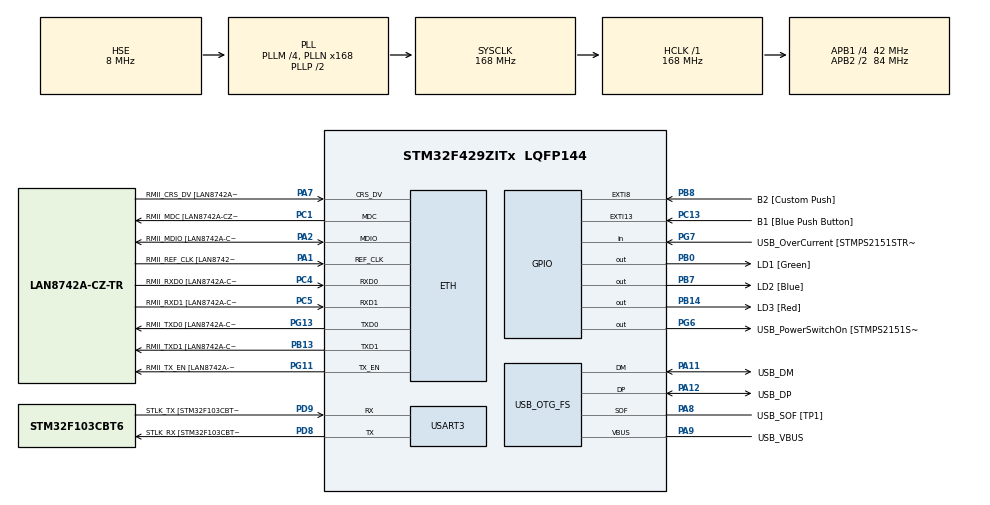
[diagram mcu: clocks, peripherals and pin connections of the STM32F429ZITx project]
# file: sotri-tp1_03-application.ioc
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ETH.MediaInterface=HAL_ETH_RMII_MODE
ETH.PHY_Name=LAN8742A_PHY_ADDRESS
ETH.PHY_Value=0
ETH.PhyAddress=0
FREERTOS.Tasks01=defaultTask,0,128,StartDefaultTask,Default,NULL,Dynamic,NULL,NULL
Mcu.Family=STM32F4
Mcu.Name=STM32F429ZITx
Mcu.Package=LQFP144
NVIC.PriorityGroup=NVIC_PRIORITYGROUP_4
NVIC.TIM1_UP_TIM10_IRQn=true\:15\:0\:false\:false\:true\:false\:false\:true\:true
NVIC.TimeBase=TIM1_UP_TIM10_IRQn
NVIC.TimeBaseIP=TIM1
PA1.GPIO_Label=RMII_REF_CLK [LAN8742A-CZ-TR_REFCLK0]
PA1.Mode=RMII
PA1.Signal=ETH_REF_CLK
PA10.GPIO_Label=USB_ID
PA10.Signal=USB_OTG_FS_ID
PA11.GPIO_Label=USB_DM
PA11.Mode=Device_Only
PA11.Signal=USB_OTG_FS_DM
PA12.GPIO_Label=USB_DP
PA12.Mode=Device_Only
PA12.Signal=USB_OTG_FS_DP
PA13.GPIO_Label=TMS
PA13.Mode=Serial_Wire
PA13.Signal=SYS_JTMS-SWDIO
PA14.GPIO_Label=TCK
PA14.Mode=Serial_Wire
PA14.Signal=SYS_JTCK-SWCLK
PA2.GPIO_Label=RMII_MDIO [LAN8742A-CZ-TR_MDIO]
PA2.Mode=RMII
PA2.Signal=ETH_MDIO
PA7.GPIO_Label=RMII_CRS_DV [LAN8742A-CZ-TR_CRS_DV]
PA7.Mode=RMII
PA7.Signal=ETH_CRS_DV
PA8.GPIO_Label=USB_SOF [TP1]
PA8.Mode=Activate_SOF_FS
PA8.Signal=USB_OTG_FS_SOF
PA9.GPIO_Label=USB_VBUS
PA9.Mode=Activate_VBUS
PA9.Signal=USB_OTG_FS_VBUS
PB0.GPIO_Label=LD1 [Green]
PB0.Signal=GPIO_Output
PB13.GPIO_Label=RMII_TXD1 [LAN8742A-CZ-TR_TXD1]
PB13.Mode=RMII
PB13.Signal=ETH_TXD1
PB14.GPIO_Label=LD3 [Red]
PB14.Signal=GPIO_Output
PB7.GPIO_Label=LD2 [Blue]
PB7.Signal=GPIO_Output
PB8.GPIO_Label=B2 [Custom Push]
PB8.GPIO_ModeDefaultEXTI=GPIO_MODE_IT_FALLING
PB8.Signal=GPXTI8
PC1.GPIO_Label=RMII_MDC [LAN8742A-CZ-TR_MDC]
PC1.Mode=RMII
PC1.Signal=ETH_MDC
PC13.GPIO_Label=B1 [Blue Push Button]
PC13.GPIO_ModeDefaultEXTI=GPIO_MODE_IT_FALLING
PC13.Signal=GPXTI13
PC14/OSC32_IN.Mode=LSE-External-Oscillator
PC14/OSC32_IN.Signal=RCC_OSC32_IN
PC15/OSC32_OUT.Mode=LSE-External-Oscillator
PC15/OSC32_OUT.Signal=RCC_OSC32_OUT
PC4.GPIO_Label=RMII_RXD0 [LAN8742A-CZ-TR_RXD0]
PC4.Mode=RMII
PC4.Signal=ETH_RXD0
PC5.GPIO_Label=RMII_RXD1 [LAN8742A-CZ-TR_RXD1]
PC5.Mode=RMII
PC5.Signal=ETH_RXD1
PD8.GPIO_Label=STLK_RX [STM32F103CBT6_PA3]
PD8.Mode=Asynchronous
PD8.Signal=USART3_TX
PD9.GPIO_Label=STLK_TX [STM32F103CBT6_PA2]
PD9.Mode=Asynchronous
PD9.Signal=USART3_RX
PG11.GPIO_Label=RMII_TX_EN [LAN8742A-CZ-TR_TXEN]
PG11.Mode=RMII
PG11.Signal=ETH_TX_EN
PG13.GPIO_Label=RMII_TXD0 [LAN8742A-CZ-TR_TXD0]
PG13.Mode=RMII
PG13.Signal=ETH_TXD0
PG6.GPIO_Label=USB_PowerSwitchOn [STMPS2151STR_EN]
PG6.Signal=GPIO_Output
PG7.GPIO_Label=USB_OverCurrent [STMPS2151STR_FAULT]
PG7.Signal=GPIO_Input
PH0/OSC_IN.GPIO_Label=MCO [STM32F103CBT6_PA8]
PH0/OSC_IN.Mode=HSE-External-Clock-Source
PH0/OSC_IN.Signal=RCC_OSC_IN
PH1/OSC_OUT.Mode=HSE-External-Clock-Source
PH1/OSC_OUT.Signal=RCC_OSC_OUT
ProjectManager.HeapSize=0x200
ProjectManager.StackSize=0x400
ProjectManager.TargetToolchain=STM32CubeIDE
RCC.48MHZClocksFreq_Value=48000000
RCC.AHBFreq_Value=168000000
RCC.APB1CLKDivider=RCC_HCLK_DIV4
RCC.APB1Freq_Value=42000000
RCC.APB1TimFreq_Value=84000000
RCC.APB2CLKDivider=RCC_HCLK_DIV2
RCC.APB2Freq_Value=84000000
RCC.APB2TimCLKDivider=2
RCC.APB2TimFreq_Value=168000000
RCC.CortexFreq_Value=168000000
RCC.HCLKFreq_Value=168000000
RCC.HSE_VALUE=8000000
RCC.HSI_VALUE=16000000
RCC.PLLM=4
RCC.PLLMUL=RCC_PLL_MUL9
RCC.PLLN=168
RCC.PLLQ=7
RCC.PRESCALERUSB=RCC_USBCLKSOURCE_PLL_DIV1_5
RCC.SYSCLKFreq_VALUE=168000000
RCC.SYSCLKSource=RCC_SYSCLKSOURCE_PLLCLK
RCC.SYSCLKSourceVirtual=RCC_SYSCLKSOURCE_PLLCLK
RCC.USBFreq_Value=48000000
RCC.VCOOutputFreq_Value=336000000
TIM2.Prescaler=2-1
USART3.VirtualMode=VM_ASYNC
USB_OTG_FS.VirtualMode=Device_Only
VP_FREERTOS_VS_CMSIS_V1.Mode=CMSIS_V1
VP_SYS_VS_tim1.Mode=TIM1
VP_TIM2_VS_ClockSourceINT.Mode=Internal
board=NUCLEO-F429ZI

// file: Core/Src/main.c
/* USER CODE BEGIN Header */
/**
  ******************************************************************************
  * @file           : main.c
  * @brief          : Main program body
  ******************************************************************************
  * @attention
  *
  * Copyright (c) 2026 STMicroelectronics.
  * All rights reserved.
  *
  * This software is licensed under terms that can be found in the LICENSE file
  * in the root directory of this software component.
  * If no LICENSE file comes with this software, it is provided AS-IS.
  *
  ******************************************************************************
  */
/* USER CODE END Header */
#include "main.h"
#include "string.h"
#include "cmsis_os.h"

/* USER CODE BEGIN Includes */
/* Demo includes */
#include "logger.h"
#include "dwt.h"

/* Application includes */
#include "app.h"

/* USER CODE END Includes */

ETH_TxPacketConfig TxConfig;
ETH_DMADescTypeDef  DMARxDscrTab[ETH_RX_DESC_CNT]; /* Ethernet Rx DMA Descriptors */
ETH_DMADescTypeDef  DMATxDscrTab[ETH_TX_DESC_CNT]; /* Ethernet Tx DMA Descriptors */

ETH_HandleTypeDef heth;

TIM_HandleTypeDef htim2;

UART_HandleTypeDef huart3;

PCD_HandleTypeDef hpcd_USB_OTG_FS;

osThreadId defaultTaskHandle;

void SystemClock_Config(void);
static void MX_GPIO_Init(void);
static void MX_ETH_Init(void);
static void MX_USART3_UART_Init(void);
static void MX_USB_OTG_FS_PCD_Init(void);
static void MX_TIM2_Init(void);
void StartDefaultTask(void const * argument);

/* USER CODE BEGIN 0 */

#if (1 == LOGGER_CONFIG_USE_SEMIHOSTING)
extern void initialise_monitor_handles(void);
#endif

/* USER CODE END 0 */

int main(void)
{

  /* USER CODE BEGIN 1 */

  #if (1 == LOGGER_CONFIG_USE_SEMIHOSTING)
  initialise_monitor_handles();
  #endif

  /* USER CODE END 1 */

  /* MCU Configuration--------------------------------------------------------*/

  /* Reset of all peripherals, Initializes the Flash interface and the Systick. */
  HAL_Init();

  /* Configure the system clock */
  SystemClock_Config();

  /* Initialize all configured peripherals */
  MX_GPIO_Init();
  MX_ETH_Init();
  MX_USART3_UART_Init();
  MX_USB_OTG_FS_PCD_Init();
  MX_TIM2_Init();
  /* USER CODE BEGIN 2 */
  /* add application, ... */
  app_init();
  /* USER CODE END 2 */

  /* USER CODE BEGIN RTOS_QUEUES */
  /* add queues, ... */
  #ifdef _defaultTask_
  /* USER CODE END RTOS_QUEUES */

  /* Create the thread(s) */
  /* definition and creation of defaultTask */
  osThreadDef(defaultTask, StartDefaultTask, osPriorityNormal, 0, 128);
  defaultTaskHandle = osThreadCreate(osThread(defaultTask), NULL);

  /* USER CODE BEGIN RTOS_THREADS */
  #endif
  /* add threads, ... */
  /* USER CODE END RTOS_THREADS */

  /* Start scheduler */
  osKernelStart();

  /* We should never get here as control is now taken by the scheduler */

  /* Infinite loop */
  while (1)
  {

  }
}

void SystemClock_Config(void)
{
  RCC_OscInitTypeDef RCC_OscInitStruct = {0};
  RCC_ClkInitTypeDef RCC_ClkInitStruct = {0};

  /** Configure the main internal regulator output voltage
  */
  __HAL_RCC_PWR_CLK_ENABLE();
  __HAL_PWR_VOLTAGESCALING_CONFIG(PWR_REGULATOR_VOLTAGE_SCALE1);

  /** Initializes the RCC Oscillators according to the specified parameters
  * in the RCC_OscInitTypeDef structure.
  */
  RCC_OscInitStruct.OscillatorType = RCC_OSCILLATORTYPE_HSE;
  RCC_OscInitStruct.HSEState = RCC_HSE_BYPASS;
  RCC_OscInitStruct.PLL.PLLState = RCC_PLL_ON;
  RCC_OscInitStruct.PLL.PLLSource = RCC_PLLSOURCE_HSE;
  RCC_OscInitStruct.PLL.PLLM = 4;
  RCC_OscInitStruct.PLL.PLLN = 168;
  RCC_OscInitStruct.PLL.PLLP = RCC_PLLP_DIV2;
  RCC_OscInitStruct.PLL.PLLQ = 7;
  if (HAL_RCC_OscConfig(&RCC_OscInitStruct) != HAL_OK)
  {
    Error_Handler();
  }

  /** Initializes the CPU, AHB and APB buses clocks
  */
  RCC_ClkInitStruct.ClockType = RCC_CLOCKTYPE_HCLK|RCC_CLOCKTYPE_SYSCLK
                              |RCC_CLOCKTYPE_PCLK1|RCC_CLOCKTYPE_PCLK2;
  RCC_ClkInitStruct.SYSCLKSource = RCC_SYSCLKSOURCE_PLLCLK;
  RCC_ClkInitStruct.AHBCLKDivider = RCC_SYSCLK_DIV1;
  RCC_ClkInitStruct.APB1CLKDivider = RCC_HCLK_DIV4;
  RCC_ClkInitStruct.APB2CLKDivider = RCC_HCLK_DIV2;

  if (HAL_RCC_ClockConfig(&RCC_ClkInitStruct, FLASH_LATENCY_5) != HAL_OK)
  {
    Error_Handler();
  }
}

static void MX_ETH_Init(void)
{

   static uint8_t MACAddr[6];

  heth.Instance = ETH;
  MACAddr[0] = 0x00;
  MACAddr[1] = 0x80;
  MACAddr[2] = 0xE1;
  MACAddr[3] = 0x00;
  MACAddr[4] = 0x00;
  MACAddr[5] = 0x00;
  heth.Init.MACAddr = &MACAddr[0];
  heth.Init.MediaInterface = HAL_ETH_RMII_MODE;
  heth.Init.TxDesc = DMATxDscrTab;
  heth.Init.RxDesc = DMARxDscrTab;
  heth.Init.RxBuffLen = 1524;

  if (HAL_ETH_Init(&heth) != HAL_OK)
  {
    Error_Handler();
  }

  memset(&TxConfig, 0 , sizeof(ETH_TxPacketConfig));
  TxConfig.Attributes = ETH_TX_PACKETS_FEATURES_CSUM | ETH_TX_PACKETS_FEATURES_CRCPAD;
  TxConfig.ChecksumCtrl = ETH_CHECKSUM_IPHDR_PAYLOAD_INSERT_PHDR_CALC;
  TxConfig.CRCPadCtrl = ETH_CRC_PAD_INSERT;

}

static void MX_TIM2_Init(void)
{

  TIM_ClockConfigTypeDef sClockSourceConfig = {0};
  TIM_MasterConfigTypeDef sMasterConfig = {0};

  htim2.Instance = TIM2;
  htim2.Init.Prescaler = 2-1;
  htim2.Init.CounterMode = TIM_COUNTERMODE_UP;
  htim2.Init.Period = 4294967295;
  htim2.Init.ClockDivision = TIM_CLOCKDIVISION_DIV1;
  htim2.Init.AutoReloadPreload = TIM_AUTORELOAD_PRELOAD_DISABLE;
  if (HAL_TIM_Base_Init(&htim2) != HAL_OK)
  {
    Error_Handler();
  }
  sClockSourceConfig.ClockSource = TIM_CLOCKSOURCE_INTERNAL;
  if (HAL_TIM_ConfigClockSource(&htim2, &sClockSourceConfig) != HAL_OK)
  {
    Error_Handler();
  }
  sMasterConfig.MasterOutputTrigger = TIM_TRGO_RESET;
  sMasterConfig.MasterSlaveMode = TIM_MASTERSLAVEMODE_DISABLE;
  if (HAL_TIMEx_MasterConfigSynchronization(&htim2, &sMasterConfig) != HAL_OK)
  {
    Error_Handler();
  }

}

static void MX_USART3_UART_Init(void)
{

  huart3.Instance = USART3;
  huart3.Init.BaudRate = 115200;
  huart3.Init.WordLength = UART_WORDLENGTH_8B;
  huart3.Init.StopBits = UART_STOPBITS_1;
  huart3.Init.Parity = UART_PARITY_NONE;
  huart3.Init.Mode = UART_MODE_TX_RX;
  huart3.Init.HwFlowCtl = UART_HWCONTROL_NONE;
  huart3.Init.OverSampling = UART_OVERSAMPLING_16;
  if (HAL_UART_Init(&huart3) != HAL_OK)
  {
    Error_Handler();
  }

}

static void MX_USB_OTG_FS_PCD_Init(void)
{

  hpcd_USB_OTG_FS.Instance = USB_OTG_FS;
  hpcd_USB_OTG_FS.Init.dev_endpoints = 4;
  hpcd_USB_OTG_FS.Init.speed = PCD_SPEED_FULL;
  hpcd_USB_OTG_FS.Init.dma_enable = DISABLE;
  hpcd_USB_OTG_FS.Init.phy_itface = PCD_PHY_EMBEDDED;
  hpcd_USB_OTG_FS.Init.Sof_enable = ENABLE;
  hpcd_USB_OTG_FS.Init.low_power_enable = DISABLE;
  hpcd_USB_OTG_FS.Init.lpm_enable = DISABLE;
  hpcd_USB_OTG_FS.Init.vbus_sensing_enable = ENABLE;
  hpcd_USB_OTG_FS.Init.use_dedicated_ep1 = DISABLE;
  if (HAL_PCD_Init(&hpcd_USB_OTG_FS) != HAL_OK)
  {
    Error_Handler();
  }

}

static void MX_GPIO_Init(void)
{
  GPIO_InitTypeDef GPIO_InitStruct = {0};

  /* GPIO Ports Clock Enable */
  __HAL_RCC_GPIOC_CLK_ENABLE();
  __HAL_RCC_GPIOH_CLK_ENABLE();
  __HAL_RCC_GPIOA_CLK_ENABLE();
  __HAL_RCC_GPIOB_CLK_ENABLE();
  __HAL_RCC_GPIOD_CLK_ENABLE();
  __HAL_RCC_GPIOG_CLK_ENABLE();

  /*Configure GPIO pin Output Level */
  HAL_GPIO_WritePin(GPIOB, LD1_Pin|LD3_Pin|LD2_Pin, GPIO_PIN_RESET);

  /*Configure GPIO pin Output Level */
  HAL_GPIO_WritePin(USB_PowerSwitchOn_GPIO_Port, USB_PowerSwitchOn_Pin, GPIO_PIN_RESET);

  /*Configure GPIO pin : B1_Pin */
  GPIO_InitStruct.Pin = B1_Pin;
  GPIO_InitStruct.Mode = GPIO_MODE_IT_FALLING;
  GPIO_InitStruct.Pull = GPIO_NOPULL;
  HAL_GPIO_Init(B1_GPIO_Port, &GPIO_InitStruct);

  /*Configure GPIO pins : LD1_Pin LD3_Pin LD2_Pin */
  GPIO_InitStruct.Pin = LD1_Pin|LD3_Pin|LD2_Pin;
  GPIO_InitStruct.Mode = GPIO_MODE_OUTPUT_PP;
  GPIO_InitStruct.Pull = GPIO_NOPULL;
  GPIO_InitStruct.Speed = GPIO_SPEED_FREQ_LOW;
  HAL_GPIO_Init(GPIOB, &GPIO_InitStruct);

  /*Configure GPIO pin : USB_PowerSwitchOn_Pin */
  GPIO_InitStruct.Pin = USB_PowerSwitchOn_Pin;
  GPIO_InitStruct.Mode = GPIO_MODE_OUTPUT_PP;
  GPIO_InitStruct.Pull = GPIO_NOPULL;
  GPIO_InitStruct.Speed = GPIO_SPEED_FREQ_LOW;
  HAL_GPIO_Init(USB_PowerSwitchOn_GPIO_Port, &GPIO_InitStruct);

  /*Configure GPIO pin : USB_OverCurrent_Pin */
  GPIO_InitStruct.Pin = USB_OverCurrent_Pin;
  GPIO_InitStruct.Mode = GPIO_MODE_INPUT;
  GPIO_InitStruct.Pull = GPIO_NOPULL;
  HAL_GPIO_Init(USB_OverCurrent_GPIO_Port, &GPIO_InitStruct);

  /*Configure GPIO pin : B2_Pin */
  GPIO_InitStruct.Pin = B2_Pin;
  GPIO_InitStruct.Mode = GPIO_MODE_IT_FALLING;
  GPIO_InitStruct.Pull = GPIO_NOPULL;
  HAL_GPIO_Init(B2_GPIO_Port, &GPIO_InitStruct);

}

void StartDefaultTask(void const * argument)
{
  /* USER CODE BEGIN 5 */
  /* Infinite loop */
  for(;;)
  {
	printf("Hello World\n");
	HAL_GPIO_TogglePin(LD2_GPIO_Port, LD2_Pin);
    osDelay(1000);
  }
  /* USER CODE END 5 */
}

void HAL_TIM_PeriodElapsedCallback(TIM_HandleTypeDef *htim)
{
  if (htim->Instance == TIM1)
  {
    HAL_IncTick();
  }
}

void Error_Handler(void)
{
  __disable_irq();
  while (1)
  {
  }
}
